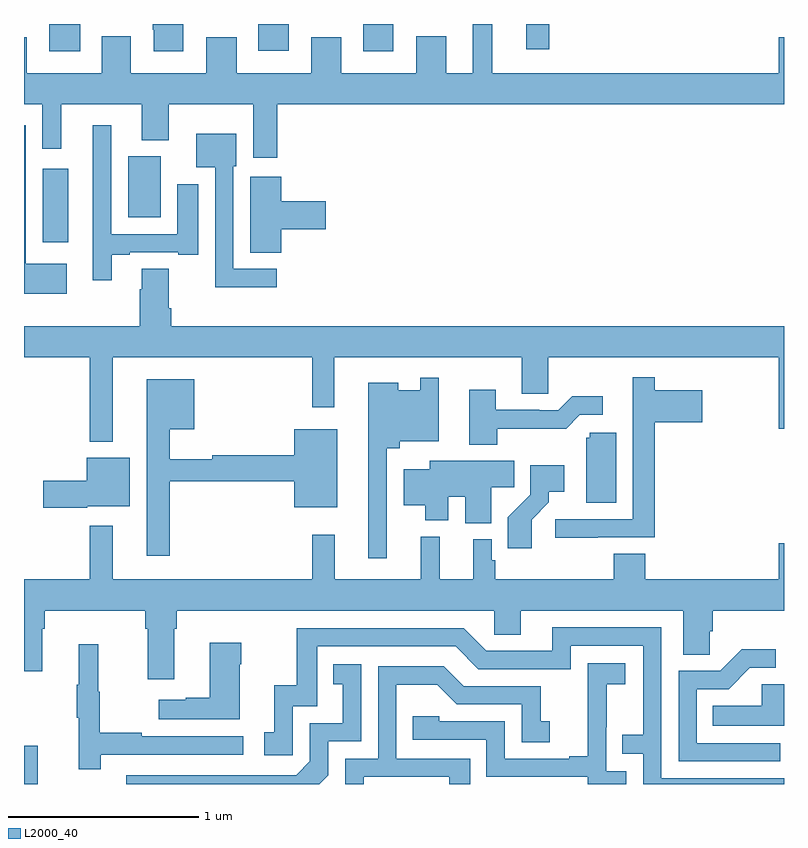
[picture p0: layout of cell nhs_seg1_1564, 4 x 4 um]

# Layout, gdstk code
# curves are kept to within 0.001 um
import gdstk
lib = gdstk.Library(unit=1e-6, precision=1e-09)
def R(c, l, rs):  # rectangles x0, y0, x1, y1
    for r in rs: c.add(gdstk.rectangle(r[:2], r[2:], *l))
def P(c, l, *ps):  # polygons
    for p in ps: c.add(gdstk.Polygon(p, *l))
L2000_40 = (2000, 40)

nhs_seg1_1564 = lib.new_cell('nhs_seg1_1564')
R(nhs_seg1_1564, L2000_40, [(197,504.199,197.073,504.4), (197.099,507.051,197.233,507.436), (197.549,507.182,197.719,507.502), (197.132,508.056,197.296,508.199), (198.785,508.056,198.943,508.199), (198.233,508.059,198.394,508.199), (199.643,508.065,199.765,508.199)])
P(nhs_seg1_1564, L2000_40, [(197.839,508.199),(197.677,508.199),(197.677,508.168),(197.684,508.168),(197.684,508.056),(197.839,508.056)],
  [(198.332,507.776),(201,507.776),(201,508.129),(200.972,508.129),(200.972,507.94),(199.465,507.94),(199.465,508.199),(199.361,508.199),(199.361,507.94),(199.222,507.94),(199.222,508.135),(199.064,508.135),(199.064,507.94),(198.67,507.94),(198.67,508.13),(198.512,508.13),(198.512,507.94),(198.121,507.94),(198.121,508.13),(197.96,508.13),(197.96,507.94),(197.563,507.94),(197.563,508.135),(197.408,508.135),(197.408,507.94),(197.014,507.94),(197.014,508.129),(197,508.129),(197,507.776),(197.096,507.776),(197.096,507.543),(197.197,507.543),(197.197,507.776),(197.621,507.776),(197.621,507.587),(197.761,507.587),(197.761,507.776),(198.206,507.776),(198.206,507.495),(198.332,507.495)],
  [(197.461,506.985),(197.557,506.985),(197.557,506.997),(197.813,506.997),(197.813,506.985),(197.917,506.985),(197.917,507.355),(197.807,507.355),(197.807,507.093),(197.46,507.093),(197.46,507.667),(197.363,507.667),(197.363,506.85),(197.461,506.85)],
  [(197.224,506.938),(197.008,506.938),(197.008,507.666),(197,507.666),(197,506.78),(197.224,506.78)],
  [(198.331,506.91),(198.102,506.91),(198.102,507.45),(198.118,507.45),(198.118,507.622),(197.906,507.622),(197.906,507.446),(198.006,507.446),(198.006,506.813),(198.331,506.813)],
  [(198.353,507.119),(198.589,507.119),(198.589,507.266),(198.353,507.266),(198.353,507.394),(198.191,507.394),(198.191,506.995),(198.353,506.995)],
  [(197.467,506.444),(198.517,506.444),(198.517,506.181),(198.634,506.181),(198.634,506.444),(199.619,506.444),(199.619,506.254),(199.758,506.254),(199.758,506.444),(200.972,506.444),(200.972,506.07),(201,506.07),(201,506.608),(197.774,506.608),(197.774,506.704),(197.761,506.704),(197.761,506.912),(197.621,506.912),(197.621,506.804),(197.609,506.804),(197.609,506.608),(197,506.608),(197,506.444),(197.346,506.444),(197.346,506),(197.467,506)],
  [(200.021,505.497),(200.321,505.497),(200.321,506.102),(200.569,506.102),(200.569,506.272),(200.321,506.272),(200.321,506.341),(200.204,506.341),(200.204,506.118),(200.205,506.118),(200.205,505.593),(199.797,505.593),(199.797,505.495),(200.021,505.495)],
  [(198.909,505.967),(198.978,505.967),(198.978,506.003),(199.182,506.003),(199.182,506.338),(199.086,506.338),(199.086,506.272),(198.97,506.272),(198.97,506.311),(198.812,506.311),(198.812,505.386),(198.909,505.386)],
  [(197.767,505.792),(198.422,505.792),(198.422,505.655),(198.649,505.655),(198.649,506.065),(198.422,506.065),(198.422,505.928),(197.992,505.928),(197.992,505.909),(197.767,505.909),(197.767,506.066),(197.896,506.066),(197.896,506.329),(197.645,506.329),(197.645,505.401),(197.767,505.401)],
  [(199.491,506.07),(199.853,506.069),(199.926,506.142),(200.047,506.142),(200.047,506.239),(199.885,506.239),(199.812,506.166),(199.712,506.166),(199.712,506.169),(199.483,506.169),(199.483,506.275),(199.343,506.275),(199.343,505.985),(199.491,505.985)],
  [(200.116,506.049),(199.977,506.049),(199.977,506.022),(199.958,506.022),(199.958,505.678),(200.116,505.678)],
  [(197.334,505.661),(197.557,505.661),(197.557,505.915),(197.33,505.915),(197.33,505.796),(197.1,505.796),(197.1,505.654),(197.334,505.654)],
  [(199.459,505.762),(199.58,505.762),(199.58,505.9),(199.136,505.9),(199.136,505.855),(198.998,505.855),(198.998,505.667),(199.112,505.667),(199.112,505.586),(199.234,505.586),(199.234,505.712),(199.322,505.712),(199.322,505.571),(199.459,505.571)],
  [(199.672,505.591),(199.762,505.681),(199.762,505.736),(199.843,505.736),(199.843,505.876),(199.665,505.876),(199.665,505.721),(199.546,505.602),(199.546,505.44),(199.672,505.44)],
  [(199.476,504.985),(199.615,504.985),(199.615,505.112),(200.471,505.112),(200.471,504.88),(200.61,504.88),(200.61,505.003),(200.624,505.003),(200.624,505.112),(201,505.112),(201,505.465),(200.972,505.465),(200.972,505.276),(200.27,505.276),(200.27,505.412),(200.105,505.412),(200.105,505.276),(199.481,505.276),(199.481,505.377),(199.461,505.377),(199.461,505.486),(199.364,505.486),(199.364,505.276),(199.187,505.276),(199.187,505.501),(199.088,505.501),(199.088,505.276),(198.635,505.276),(198.635,505.51),(198.517,505.51),(198.517,505.276),(197.467,505.276),(197.467,505.558),(197.346,505.558),(197.346,505.276),(197,505.276),(197,504.792),(197.095,504.792),(197.095,505.016),(197.108,505.016),(197.108,505.112),(197.639,505.112),(197.639,505.016),(197.651,505.016),(197.651,504.75),(197.791,504.75),(197.791,505.016),(197.804,505.016),(197.804,505.112),(199.476,505.112)],
  [(201,504.228),(200.355,504.228),(200.355,505.023),(199.781,505.023),(199.781,504.9),(199.434,504.9),(199.314,505.02),(198.435,505.02),(198.435,504.718),(198.317,504.718),(198.317,504.471),(198.264,504.471),(198.264,504.351),(198.414,504.351),(198.414,504.609),(198.543,504.609),(198.543,504.924),(199.272,504.924),(199.392,504.804),(199.878,504.804),(199.878,504.927),(200.259,504.927),(200.259,504.458),(200.149,504.458),(200.149,504.357),(200.259,504.357),(200.259,504.199),(201,504.199)],
  [(198.136,504.83),(198.144,504.83),(198.144,504.943),(197.978,504.943),(197.978,504.653),(197.852,504.653),(197.852,504.643),(197.709,504.643),(197.709,504.539),(198.136,504.539)],
  [(197.405,504.354),(198.154,504.354),(198.154,504.45),(197.621,504.45),(197.621,504.47),(197.398,504.47),(197.398,504.684),(197.39,504.684),(197.39,504.934),(197.288,504.934),(197.288,504.721),(197.277,504.721),(197.277,504.547),(197.288,504.547),(197.288,504.276),(197.405,504.276)],
  [(200.98,504.414),(200.541,504.414),(200.541,504.699),(200.71,504.699),(200.821,504.81),(200.956,504.81),(200.956,504.908),(200.777,504.908),(200.664,504.795),(200.445,504.795),(200.445,504.318),(200.98,504.318)],
  [(200.169,504.267),(200.064,504.267),(200.064,504.497),(200.066,504.497),(200.066,504.725),(200.164,504.725),(200.164,504.835),(199.966,504.835),(199.966,504.629),(199.967,504.629),(199.967,504.346),(199.871,504.346),(199.871,504.333),(199.53,504.333),(199.53,504.528),(199.185,504.528),(199.185,504.555),(199.045,504.555),(199.045,504.432),(199.434,504.432),(199.434,504.237),(199.968,504.237),(199.968,504.199),(200.169,504.199)],
  [(198.6,504.246),(198.6,504.423),(198.774,504.423),(198.774,504.829),(198.628,504.829),(198.628,504.723),(198.677,504.723),(198.677,504.519),(198.504,504.519),(198.504,504.318),(198.432,504.246),(197.538,504.246),(197.538,504.199),(198.553,504.199)],
  [(198.787,504.237),(199.238,504.237),(199.238,504.199),(199.349,504.199),(199.349,504.333),(198.96,504.333),(198.96,504.722),(199.174,504.722),(199.278,504.618),(199.62,504.618),(199.62,504.42),(199.768,504.42),(199.768,504.529),(199.719,504.529),(199.719,504.714),(199.315,504.714),(199.21,504.819),(198.864,504.819),(198.864,504.333),(198.69,504.333),(198.69,504.199),(198.787,504.199)],
  [(201,504.725),(200.883,504.725),(200.883,504.61),(200.626,504.61),(200.626,504.506),(201,504.506)])

lib.write_gds('nhs_seg1_1564.gds')
